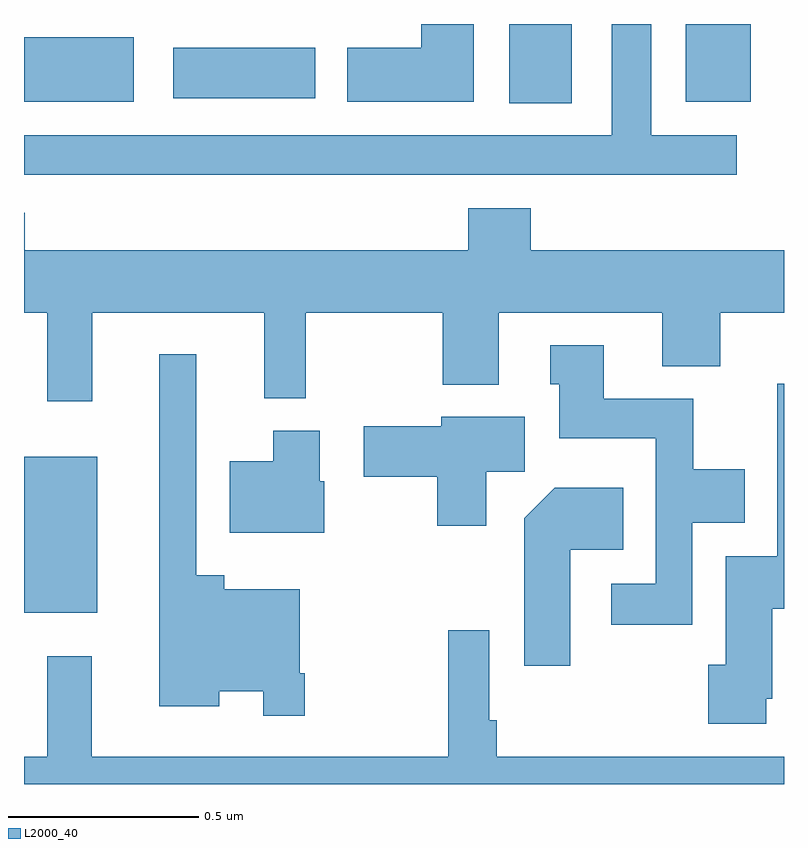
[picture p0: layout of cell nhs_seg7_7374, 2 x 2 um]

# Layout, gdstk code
import gdstk
lib = gdstk.Library(unit=1e-6, precision=1e-09)
def R(c, l, rs):  # rectangles x0, y0, x1, y1
    for r in rs: c.add(gdstk.rectangle(r[:2], r[2:], *l))
def P(c, l, *ps):  # polygons
    for p in ps: c.add(gdstk.Polygon(p, *l))
L2000_40 = (2000, 40)

nhs_seg7_7374 = lib.new_cell('nhs_seg7_7374')
R(nhs_seg7_7374, L2000_40, [(210,1042.451,210.193,1042.861), (211.277,1043.792,211.441,1044), (210,1043.795,210.289,1043.965), (211.742,1043.795,211.913,1044), (210.393,1043.804,210.766,1043.938)])
P(nhs_seg7_7374, L2000_40, [(211.876,1043.707),(211.651,1043.707),(211.651,1044),(211.547,1044),(211.547,1043.707),(210,1043.707),(210,1043.603),(211.876,1043.603)],
  [(211.183,1044),(211.046,1044),(211.046,1043.938),(210.851,1043.938),(210.851,1043.795),(211.183,1043.795)],
  [(210.179,1043.24),(210.632,1043.24),(210.632,1043.015),(210.742,1043.015),(210.742,1043.24),(211.102,1043.24),(211.102,1043.051),(211.249,1043.051),(211.249,1043.24),(211.679,1043.24),(211.679,1043.099),(211.832,1043.099),(211.832,1043.24),(212,1043.24),(212,1043.404),(211.334,1043.404),(211.334,1043.515),(211.169,1043.515),(211.169,1043.404),(210.002,1043.404),(210.002,1043.503),(210,1043.503),(210,1043.24),(210.061,1043.24),(210.061,1043.007),(210.179,1043.007)],
  [(211.758,1042.688),(211.897,1042.688),(211.897,1042.828),(211.761,1042.828),(211.761,1043.014),(211.525,1043.014),(211.525,1043.155),(211.385,1043.155),(211.385,1043.052),(211.409,1043.052),(211.409,1042.91),(211.662,1042.91),(211.662,1042.527),(211.545,1042.527),(211.545,1042.419),(211.758,1042.419)],
  [(210.739,1042.291),(210.726,1042.291),(210.726,1042.513),(210.527,1042.513),(210.527,1042.549),(210.453,1042.549),(210.453,1043.131),(210.356,1043.131),(210.356,1042.205),(210.514,1042.205),(210.514,1042.244),(210.63,1042.244),(210.63,1042.179),(210.739,1042.179)],
  [(211.953,1042.224),(211.969,1042.224),(211.969,1042.461),(212,1042.461),(212,1043.053),(211.982,1043.053),(211.982,1042.6),(211.847,1042.6),(211.847,1042.314),(211.801,1042.314),(211.801,1042.158),(211.953,1042.158)],
  [(211.216,1042.822),(211.318,1042.822),(211.318,1042.966),(211.098,1042.966),(211.098,1042.942),(210.894,1042.942),(210.894,1042.808),(211.087,1042.808),(211.087,1042.68),(211.216,1042.68)],
  [(210.79,1042.797),(210.778,1042.797),(210.778,1042.93),(210.656,1042.93),(210.656,1042.849),(210.542,1042.849),(210.542,1042.661),(210.79,1042.661)],
  [(211.438,1042.616),(211.577,1042.616),(211.577,1042.78),(211.397,1042.78),(211.316,1042.699),(211.316,1042.311),(211.438,1042.311)],
  [(212,1042.072),(211.244,1042.072),(211.244,1042.168),(211.224,1042.168),(211.224,1042.405),(211.116,1042.405),(211.116,1042.072),(210.178,1042.072),(210.178,1042.336),(210.061,1042.336),(210.061,1042.072),(210,1042.072),(210,1042),(212,1042)])

lib.write_gds('nhs_seg7_7374.gds')
